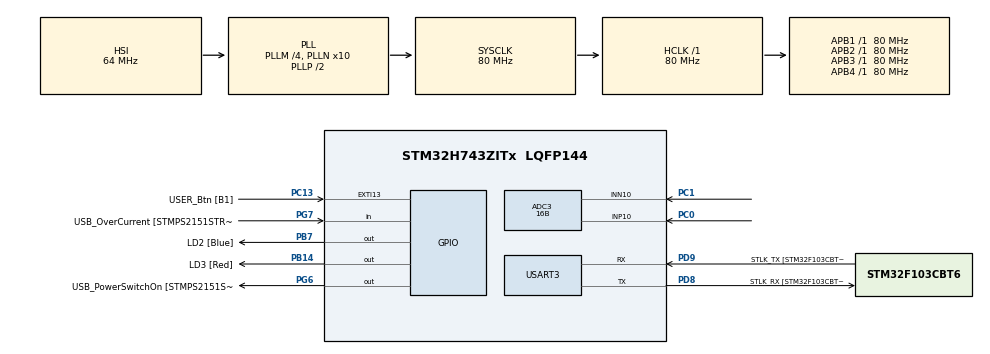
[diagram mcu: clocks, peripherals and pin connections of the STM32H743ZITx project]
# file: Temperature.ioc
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ADC3.BoostMode=DISABLE
ADC3.Channel-0\#ChannelRegularConversion=ADC_CHANNEL_TEMPSENSOR
ADC3.ClockPrescaler=ADC_CLOCK_ASYNC_DIV4
ADC3.ContinuousConvMode=ENABLE
ADC3.ConversionDataManagement=ADC_CONVERSIONDATA_DR
ADC3.DMAContinuousRequests=DISABLE
ADC3.DiscontinuousConvMode=DISABLE
ADC3.EOCSelection=ADC_EOC_SINGLE_CONV
ADC3.EnableAnalogWatchDog1=false
ADC3.EnableAnalogWatchDog2=false
ADC3.EnableAnalogWatchDog3=false
ADC3.EnableInjectedConversion=DISABLE
ADC3.EnableRegularConversion=ENABLE
ADC3.ExternalTrigConv=ADC_SOFTWARE_START
ADC3.ExternalTrigConvEdge=ADC_EXTERNALTRIGCONVEDGE_NONE
ADC3.LeftBitShift=ADC_LEFTBITSHIFT_NONE
ADC3.LowPowerAutoWait=DISABLE
ADC3.NbrOfConversion=1
ADC3.NbrOfConversionFlag=1
ADC3.OffsetNumber-0\#ChannelRegularConversion=ADC_OFFSET_NONE
ADC3.Overrun=ADC_OVR_DATA_PRESERVED
ADC3.OversamplingMode=DISABLE
ADC3.Rank-0\#ChannelRegularConversion=1
ADC3.Resolution=ADC_RESOLUTION_16B
ADC3.SamplingTime-0\#ChannelRegularConversion=ADC_SAMPLETIME_64CYCLES_5
ADC3.ScanConvMode=ADC_SCAN_DISABLE
Mcu.Family=STM32H7
Mcu.Name=STM32H743ZITx
Mcu.Package=LQFP144
NVIC.ADC3_IRQn=true\:0\:0\:false\:false\:true\:true
NVIC.PriorityGroup=NVIC_PRIORITYGROUP_4
PA1.GPIO_Label=RMII_REF_CLK
PA1.Signal=ETH_REF_CLK
PA10.GPIO_Label=USB_ID
PA10.Signal=USB_OTG_FS_ID
PA11.GPIO_Label=USB_DM
PA11.Signal=USB_OTG_FS_DM
PA12.GPIO_Label=USB_DP
PA12.Signal=USB_OTG_FS_DP
PA13.GPIO_Label=TMS
PA13.Signal=SYS_JTMS-SWDIO
PA14.GPIO_Label=TCK
PA14.Signal=SYS_JTCK-SWCLK
PA2.GPIO_Label=RMII_MDIO
PA2.Signal=ETH_MDIO
PA7.GPIO_Label=RMII_CRS_DV
PA7.Signal=ETH_CRS_DV
PA8.GPIO_Label=USB_SOF [TP1]
PA8.Signal=USB_OTG_FS_SOF
PA9.GPIO_Label=USB_VBUS
PA9.Signal=USB_OTG_FS_VBUS
PB13.GPIO_Label=RMII_TXD1
PB13.Signal=ETH_TXD1
PB14.GPIO_Label=LD3 [Red]
PB14.Signal=GPIO_Output
PB3.GPIO_Label=SWO
PB3.Signal=SYS_JTDO-SWO
PB7.GPIO_Label=LD2 [Blue]
PB7.Signal=GPIO_Output
PC0.Signal=ADCx_INP10
PC1.Signal=ADCx_INN10
PC13.GPIO_Label=USER_Btn [B1]
PC13.Signal=GPXTI13
PC14-OSC32_IN.Signal=RCC_OSC32_IN
PC15-OSC32_OUT.Signal=RCC_OSC32_OUT
PC4.GPIO_Label=RMII_RXD0
PC4.Signal=ETH_RXD0
PC5.GPIO_Label=RMII_RXD1
PC5.Signal=ETH_RXD1
PD8.GPIO_Label=STLK_RX [STM32F103CBT6_PA3]
PD8.Mode=Asynchronous
PD8.Signal=USART3_TX
PD9.GPIO_Label=STLK_TX [STM32F103CBT6_PA2]
PD9.Mode=Asynchronous
PD9.Signal=USART3_RX
PG11.GPIO_Label=RMII_TX_EN
PG11.Signal=ETH_TX_EN
PG13.GPIO_Label=RMII_TXD0
PG13.Signal=ETH_TXD0
PG6.GPIO_Label=USB_PowerSwitchOn [STMPS2151STR_EN]
PG6.Signal=GPIO_Output
PG7.GPIO_Label=USB_OverCurrent [STMPS2151STR_FAULT]
PG7.Signal=GPIO_Input
PH0-OSC_IN.GPIO_Label=MCO
PH0-OSC_IN.Signal=RCC_OSC_IN
ProjectManager.HeapSize=0x200
ProjectManager.StackSize=0x400
ProjectManager.TargetToolchain=SW4STM32
RCC.48MHZClocksFreq_Value=24000000
RCC.ADCFreq_Value=18000000
RCC.AHBFreq_Value=216000000
RCC.APB1CLKDivider=RCC_HCLK_DIV4
RCC.APB1Freq_Value=80000000
RCC.APB1TimFreq_Value=108000000
RCC.APB2CLKDivider=RCC_HCLK_DIV2
RCC.APB2Freq_Value=80000000
RCC.APB2TimFreq_Value=216000000
RCC.APB3Freq_Value=80000000
RCC.APB4Freq_Value=80000000
RCC.CortexFreq_Value=80000000
RCC.DIVM1=4
RCC.DIVM2=4
RCC.DIVN1=10
RCC.DIVN2=18
RCC.DIVP2=16
RCC.DIVQ1=4
RCC.HCLKFreq_Value=80000000
RCC.HSE_VALUE=8000000
RCC.HSI_VALUE=64000000
RCC.PLLM=25
RCC.PLLMUL=RCC_PLL_MUL9
RCC.PLLN=432
RCC.PLLQ=9
RCC.PRESCALERUSB=RCC_USBCLKSOURCE_PLL_DIV1_5
RCC.SYSCLKFreq_VALUE=80000000
RCC.SYSCLKSource=RCC_SYSCLKSOURCE_PLLCLK
RCC.SYSCLKSourceVirtual=RCC_SYSCLKSOURCE_PLLCLK
RCC.USBFreq_Value=40000000
RCC.VCOOutputFreq_Value=432000000
SH.ADCx_INN10.0=ADC3_INN10,IN10-Differential
SH.ADCx_INP10.0=ADC3_INP10,IN10-Differential
USART3.VirtualMode-Asynchronous=VM_ASYNC
VP_ADC3_TempSens_Input.Mode=IN-TempSens
board=NUCLEO-H743ZI

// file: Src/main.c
/**
  ******************************************************************************
  * @file           : main.c
  * @brief          : Main program body
  ******************************************************************************
  ** This notice applies to any and all portions of this file
  * that are not between comment pairs USER CODE BEGIN and
  * USER CODE END. Other portions of this file, whether
  * inserted by the user or by software development tools
  * are owned by their respective copyright owners.
  *
  * COPYRIGHT(c) 2018 STMicroelectronics
  *
  * Redistribution and use in source and binary forms, with or without modification,
  * are permitted provided that the following conditions are met:
  *   1. Redistributions of source code must retain the above copyright notice,
  *      this list of conditions and the following disclaimer.
  *   2. Redistributions in binary form must reproduce the above copyright notice,
  *      this list of conditions and the following disclaimer in the documentation
  *      and/or other materials provided with the distribution.
  *   3. Neither the name of STMicroelectronics nor the names of its contributors
  *      may be used to endorse or promote products derived from this software
  *      without specific prior written permission.
  *
  * THIS SOFTWARE IS PROVIDED BY THE COPYRIGHT HOLDERS AND CONTRIBUTORS "AS IS"
  * AND ANY EXPRESS OR IMPLIED WARRANTIES, INCLUDING, BUT NOT LIMITED TO, THE
  * IMPLIED WARRANTIES OF MERCHANTABILITY AND FITNESS FOR A PARTICULAR PURPOSE ARE
  * DISCLAIMED. IN NO EVENT SHALL THE COPYRIGHT HOLDER OR CONTRIBUTORS BE LIABLE
  * FOR ANY DIRECT, INDIRECT, INCIDENTAL, SPECIAL, EXEMPLARY, OR CONSEQUENTIAL
  * DAMAGES (INCLUDING, BUT NOT LIMITED TO, PROCUREMENT OF SUBSTITUTE GOODS OR
  * SERVICES; LOSS OF USE, DATA, OR PROFITS; OR BUSINESS INTERRUPTION) HOWEVER
  * CAUSED AND ON ANY THEORY OF LIABILITY, WHETHER IN CONTRACT, STRICT LIABILITY,
  * OR TORT (INCLUDING NEGLIGENCE OR OTHERWISE) ARISING IN ANY WAY OUT OF THE USE
  * OF THIS SOFTWARE, EVEN IF ADVISED OF THE POSSIBILITY OF SUCH DAMAGE.
  *
  ******************************************************************************
  */
#include "main.h"
#include "stm32h7xx_hal.h"

/* USER CODE BEGIN Includes */
#include <string.h>
/* USER CODE END Includes */

ADC_HandleTypeDef hadc3;

UART_HandleTypeDef huart3;

/* USER CODE BEGIN PV */
/* Private variables ---------------------------------------------------------*/

/* USER CODE END PV */

void SystemClock_Config(void);
static void MX_GPIO_Init(void);
static void MX_ADC3_Init(void);
static void MX_USART3_UART_Init(void);

/* USER CODE BEGIN PFP */
/* Private function prototypes -----------------------------------------------*/

/* USER CODE END PFP */

/* USER CODE BEGIN 0 */
#define TS_CAL1_30  (uint16_t*)((uint32_t) 0x1FF1E820)
#define TS_CAL2_110 (uint16_t*)((uint32_t) 0x1FF1E840)
#define TEMP30  30.0f
#define TEMP110 110.0f
/* USER CODE END 0 */

int main(void)
{

  /* MCU Configuration----------------------------------------------------------*/

  /* Reset of all peripherals, Initializes the Flash interface and the Systick. */
  HAL_Init();

  /* Configure the system clock */
  SystemClock_Config();

  /* Initialize all configured peripherals */
  MX_GPIO_Init();
  MX_ADC3_Init();
  MX_USART3_UART_Init();
  /* USER CODE BEGIN 2 */
  uint8_t buffer[2] = " \n";
  char tempbuf[13];

  int32_t temperature;
  float   sensorValue;

  float CAL110 = (float) *TS_CAL2_110;
  float CAL30 = (float) *TS_CAL1_30;

  // Write out calibration readings for testing
  memset(tempbuf, 0, sizeof(tempbuf));
  sprintf(tempbuf, "%ld\n", (int32_t) *TS_CAL1_30);
  HAL_UART_Transmit(&huart3, (uint8_t *) tempbuf, sizeof(tempbuf), HAL_MAX_DELAY);

  memset(tempbuf, 0, sizeof(tempbuf));
  sprintf(tempbuf, "%ld\n", (int32_t) *TS_CAL2_110);
  HAL_UART_Transmit(&huart3, (uint8_t *) tempbuf, sizeof(tempbuf), HAL_MAX_DELAY);

  /* USER CODE END 2 */

  /* Infinite loop */
  while (1)
  {

  /* USER CODE BEGIN 3 */
    //if (ADC_Enable(&hadc3) != HAL_OK) {
      // handle error
    //}

    // Start conversion
    HAL_ADC_Start(&hadc3);

    // Wait for conversion
    if (HAL_ADC_PollForConversion(&hadc3, 10) == HAL_OK)
    {
      // Get the sensor value and calculate the temperature
      sensorValue = (float)HAL_ADC_GetValue(&hadc3);
      temperature = (int32_t)((TEMP110 - TEMP30) / ((CAL110) - (CAL30)) * (sensorValue - (CAL30))) + TEMP30;

      // Print out sensor value
      memset(tempbuf, 0, sizeof(tempbuf));
      sprintf(tempbuf, "%ld\n", (int32_t) sensorValue);
      HAL_UART_Transmit(&huart3, (uint8_t *) tempbuf, sizeof(tempbuf), HAL_MAX_DELAY);

      // Print out calculated temperature
      memset(tempbuf, 0, sizeof(tempbuf));
      sprintf(tempbuf, "%ld\n", temperature);
      HAL_UART_Transmit(&huart3, (uint8_t *) tempbuf, sizeof(tempbuf), HAL_MAX_DELAY);
    }
    else
    {
      HAL_UART_Transmit(&huart3, buffer, sizeof(buffer), HAL_MAX_DELAY);
    }
    HAL_Delay(1000);

  }
  /* USER CODE END 3 */

}

void SystemClock_Config(void)
{

  RCC_OscInitTypeDef RCC_OscInitStruct;
  RCC_ClkInitTypeDef RCC_ClkInitStruct;
  RCC_PeriphCLKInitTypeDef PeriphClkInitStruct;

    /**Supply configuration update enable
    */
  MODIFY_REG(PWR->CR3, PWR_CR3_SCUEN, 0);

    /**Configure the main internal regulator output voltage
    */
  __HAL_PWR_VOLTAGESCALING_CONFIG(PWR_REGULATOR_VOLTAGE_SCALE3);

  while ((PWR->D3CR & (PWR_D3CR_VOSRDY)) != PWR_D3CR_VOSRDY)
  {

  }
    /**Macro to configure the PLL clock source
    */
  __HAL_RCC_PLL_PLLSOURCE_CONFIG(RCC_PLLSOURCE_HSI);

    /**Initializes the CPU, AHB and APB busses clocks
    */
  RCC_OscInitStruct.OscillatorType = RCC_OSCILLATORTYPE_HSI;
  RCC_OscInitStruct.HSIState = RCC_HSI_DIV1;
  RCC_OscInitStruct.HSICalibrationValue = 16;
  RCC_OscInitStruct.PLL.PLLState = RCC_PLL_ON;
  RCC_OscInitStruct.PLL.PLLSource = RCC_PLLSOURCE_HSI;
  RCC_OscInitStruct.PLL.PLLM = 4;
  RCC_OscInitStruct.PLL.PLLN = 10;
  RCC_OscInitStruct.PLL.PLLP = 2;
  RCC_OscInitStruct.PLL.PLLQ = 4;
  RCC_OscInitStruct.PLL.PLLR = 2;
  RCC_OscInitStruct.PLL.PLLRGE = RCC_PLL1VCIRANGE_3;
  RCC_OscInitStruct.PLL.PLLVCOSEL = RCC_PLL1VCOMEDIUM;
  RCC_OscInitStruct.PLL.PLLFRACN = 0;
  if (HAL_RCC_OscConfig(&RCC_OscInitStruct) != HAL_OK)
  {
    _Error_Handler(__FILE__, __LINE__);
  }

    /**Initializes the CPU, AHB and APB busses clocks
    */
  RCC_ClkInitStruct.ClockType = RCC_CLOCKTYPE_HCLK|RCC_CLOCKTYPE_SYSCLK
                              |RCC_CLOCKTYPE_PCLK1|RCC_CLOCKTYPE_PCLK2
                              |RCC_CLOCKTYPE_D3PCLK1|RCC_CLOCKTYPE_D1PCLK1;
  RCC_ClkInitStruct.SYSCLKSource = RCC_SYSCLKSOURCE_PLLCLK;
  RCC_ClkInitStruct.SYSCLKDivider = RCC_SYSCLK_DIV1;
  RCC_ClkInitStruct.AHBCLKDivider = RCC_HCLK_DIV1;
  RCC_ClkInitStruct.APB3CLKDivider = RCC_APB3_DIV1;
  RCC_ClkInitStruct.APB1CLKDivider = RCC_APB1_DIV1;
  RCC_ClkInitStruct.APB2CLKDivider = RCC_APB2_DIV1;
  RCC_ClkInitStruct.APB4CLKDivider = RCC_APB4_DIV1;

  if (HAL_RCC_ClockConfig(&RCC_ClkInitStruct, FLASH_LATENCY_1) != HAL_OK)
  {
    _Error_Handler(__FILE__, __LINE__);
  }

  PeriphClkInitStruct.PeriphClockSelection = RCC_PERIPHCLK_USART3|RCC_PERIPHCLK_ADC;
  PeriphClkInitStruct.PLL2.PLL2M = 4;
  PeriphClkInitStruct.PLL2.PLL2N = 18;
  PeriphClkInitStruct.PLL2.PLL2P = 16;
  PeriphClkInitStruct.PLL2.PLL2Q = 2;
  PeriphClkInitStruct.PLL2.PLL2R = 2;
  PeriphClkInitStruct.PLL2.PLL2RGE = RCC_PLL2VCIRANGE_3;
  PeriphClkInitStruct.PLL2.PLL2VCOSEL = RCC_PLL2VCOWIDE;
  PeriphClkInitStruct.PLL2.PLL2FRACN = 0;
  PeriphClkInitStruct.Usart234578ClockSelection = RCC_USART234578CLKSOURCE_D2PCLK1;
  PeriphClkInitStruct.AdcClockSelection = RCC_ADCCLKSOURCE_PLL2;
  if (HAL_RCCEx_PeriphCLKConfig(&PeriphClkInitStruct) != HAL_OK)
  {
    _Error_Handler(__FILE__, __LINE__);
  }

    /**Configure the Systick interrupt time
    */
  HAL_SYSTICK_Config(SystemCoreClock/1000);

    /**Configure the Systick
    */
  HAL_SYSTICK_CLKSourceConfig(SYSTICK_CLKSOURCE_HCLK);

  /* SysTick_IRQn interrupt configuration */
  HAL_NVIC_SetPriority(SysTick_IRQn, 0, 0);
}

/* ADC3 init function */
static void MX_ADC3_Init(void)
{

  ADC_ChannelConfTypeDef sConfig;

    /**Common config
    */
  hadc3.Instance = ADC3;
  hadc3.Init.ClockPrescaler = ADC_CLOCK_ASYNC_DIV4;
  hadc3.Init.Resolution = ADC_RESOLUTION_16B;
  hadc3.Init.ScanConvMode = ADC_SCAN_DISABLE;
  hadc3.Init.EOCSelection = ADC_EOC_SINGLE_CONV;
  hadc3.Init.LowPowerAutoWait = DISABLE;
  hadc3.Init.ContinuousConvMode = DISABLE;
  hadc3.Init.NbrOfConversion = 1;
  hadc3.Init.DiscontinuousConvMode = DISABLE;
  hadc3.Init.NbrOfDiscConversion = 1;
  hadc3.Init.ExternalTrigConv = ADC_SOFTWARE_START;
  hadc3.Init.ExternalTrigConvEdge = ADC_EXTERNALTRIGCONVEDGE_NONE;
  hadc3.Init.ConversionDataManagement = ADC_CONVERSIONDATA_DR;
  hadc3.Init.Overrun = ADC_OVR_DATA_PRESERVED;
  hadc3.Init.LeftBitShift = ADC_LEFTBITSHIFT_NONE;
  hadc3.Init.BoostMode = DISABLE;
  hadc3.Init.OversamplingMode = DISABLE;
  if (HAL_ADC_Init(&hadc3) != HAL_OK)
  {
    _Error_Handler(__FILE__, __LINE__);
  }

    /**Configure Regular Channel
    */
  sConfig.Channel = ADC_CHANNEL_TEMPSENSOR;
  sConfig.Rank = ADC_REGULAR_RANK_1;
  sConfig.SamplingTime = ADC_SAMPLETIME_64CYCLES_5;
  sConfig.SingleDiff = ADC_SINGLE_ENDED;
  sConfig.OffsetNumber = ADC_OFFSET_NONE;
  sConfig.Offset = 0;
  if (HAL_ADC_ConfigChannel(&hadc3, &sConfig) != HAL_OK)
  {
    _Error_Handler(__FILE__, __LINE__);
  }
  if (HAL_ADCEx_Calibration_Start(&hadc3, ADC_CALIB_OFFSET, ADC_SINGLE_ENDED) != HAL_OK)
    {
      _Error_Handler(__FILE__, __LINE__);
    }
}

/* USART3 init function */
static void MX_USART3_UART_Init(void)
{

  huart3.Instance = USART3;
  huart3.Init.BaudRate = 115200;
  huart3.Init.WordLength = UART_WORDLENGTH_8B;
  huart3.Init.StopBits = UART_STOPBITS_1;
  huart3.Init.Parity = UART_PARITY_NONE;
  huart3.Init.Mode = UART_MODE_TX_RX;
  huart3.Init.HwFlowCtl = UART_HWCONTROL_NONE;
  huart3.Init.OverSampling = UART_OVERSAMPLING_16;
  huart3.Init.OneBitSampling = UART_ONE_BIT_SAMPLE_DISABLE;
  huart3.Init.Prescaler = UART_PRESCALER_DIV1;
  huart3.Init.FIFOMode = UART_FIFOMODE_DISABLE;
  huart3.Init.TXFIFOThreshold = UART_TXFIFO_THRESHOLD_1_8;
  huart3.Init.RXFIFOThreshold = UART_RXFIFO_THRESHOLD_1_8;
  huart3.AdvancedInit.AdvFeatureInit = UART_ADVFEATURE_NO_INIT;
  if (HAL_UART_Init(&huart3) != HAL_OK)
  {
    _Error_Handler(__FILE__, __LINE__);
  }

}

/** Configure pins as
        * Analog
        * Input
        * Output
        * EVENT_OUT
        * EXTI
     PA1   ------> ETH_REF_CLK
     PA2   ------> ETH_MDIO
     PA7   ------> ETH_CRS_DV
     PC4   ------> ETH_RXD0
     PC5   ------> ETH_RXD1
     PB13   ------> ETH_TXD1
     PA8   ------> USB_OTG_FS_SOF
     PA10   ------> USB_OTG_FS_ID
     PA11   ------> USB_OTG_FS_DM
     PA12   ------> USB_OTG_FS_DP
     PG11   ------> ETH_TX_EN
     PG13   ------> ETH_TXD0
*/
static void MX_GPIO_Init(void)
{

  GPIO_InitTypeDef GPIO_InitStruct;

  /* GPIO Ports Clock Enable */
  __HAL_RCC_GPIOC_CLK_ENABLE();
  __HAL_RCC_GPIOH_CLK_ENABLE();
  __HAL_RCC_GPIOA_CLK_ENABLE();
  __HAL_RCC_GPIOB_CLK_ENABLE();
  __HAL_RCC_GPIOD_CLK_ENABLE();
  __HAL_RCC_GPIOG_CLK_ENABLE();

  /*Configure GPIO pin Output Level */
  HAL_GPIO_WritePin(GPIOB, LD3_Pin|LD2_Pin, GPIO_PIN_RESET);

  /*Configure GPIO pin Output Level */
  HAL_GPIO_WritePin(USB_PowerSwitchOn_GPIO_Port, USB_PowerSwitchOn_Pin, GPIO_PIN_RESET);

  /*Configure GPIO pin : USER_Btn_Pin */
  GPIO_InitStruct.Pin = USER_Btn_Pin;
  GPIO_InitStruct.Mode = GPIO_MODE_IT_RISING;
  GPIO_InitStruct.Pull = GPIO_NOPULL;
  HAL_GPIO_Init(USER_Btn_GPIO_Port, &GPIO_InitStruct);

  /*Configure GPIO pins : RMII_REF_CLK_Pin RMII_MDIO_Pin RMII_CRS_DV_Pin */
  GPIO_InitStruct.Pin = RMII_REF_CLK_Pin|RMII_MDIO_Pin|RMII_CRS_DV_Pin;
  GPIO_InitStruct.Mode = GPIO_MODE_AF_PP;
  GPIO_InitStruct.Pull = GPIO_NOPULL;
  GPIO_InitStruct.Speed = GPIO_SPEED_FREQ_LOW;
  GPIO_InitStruct.Alternate = GPIO_AF11_ETH;
  HAL_GPIO_Init(GPIOA, &GPIO_InitStruct);

  /*Configure GPIO pins : RMII_RXD0_Pin RMII_RXD1_Pin */
  GPIO_InitStruct.Pin = RMII_RXD0_Pin|RMII_RXD1_Pin;
  GPIO_InitStruct.Mode = GPIO_MODE_AF_PP;
  GPIO_InitStruct.Pull = GPIO_NOPULL;
  GPIO_InitStruct.Speed = GPIO_SPEED_FREQ_LOW;
  GPIO_InitStruct.Alternate = GPIO_AF11_ETH;
  HAL_GPIO_Init(GPIOC, &GPIO_InitStruct);

  /*Configure GPIO pin : RMII_TXD1_Pin */
  GPIO_InitStruct.Pin = RMII_TXD1_Pin;
  GPIO_InitStruct.Mode = GPIO_MODE_AF_PP;
  GPIO_InitStruct.Pull = GPIO_NOPULL;
  GPIO_InitStruct.Speed = GPIO_SPEED_FREQ_LOW;
  GPIO_InitStruct.Alternate = GPIO_AF11_ETH;
  HAL_GPIO_Init(RMII_TXD1_GPIO_Port, &GPIO_InitStruct);

  /*Configure GPIO pins : LD3_Pin LD2_Pin */
  GPIO_InitStruct.Pin = LD3_Pin|LD2_Pin;
  GPIO_InitStruct.Mode = GPIO_MODE_OUTPUT_PP;
  GPIO_InitStruct.Pull = GPIO_NOPULL;
  GPIO_InitStruct.Speed = GPIO_SPEED_FREQ_LOW;
  HAL_GPIO_Init(GPIOB, &GPIO_InitStruct);

  /*Configure GPIO pin : USB_PowerSwitchOn_Pin */
  GPIO_InitStruct.Pin = USB_PowerSwitchOn_Pin;
  GPIO_InitStruct.Mode = GPIO_MODE_OUTPUT_PP;
  GPIO_InitStruct.Pull = GPIO_NOPULL;
  GPIO_InitStruct.Speed = GPIO_SPEED_FREQ_LOW;
  HAL_GPIO_Init(USB_PowerSwitchOn_GPIO_Port, &GPIO_InitStruct);

  /*Configure GPIO pin : USB_OverCurrent_Pin */
  GPIO_InitStruct.Pin = USB_OverCurrent_Pin;
  GPIO_InitStruct.Mode = GPIO_MODE_INPUT;
  GPIO_InitStruct.Pull = GPIO_NOPULL;
  HAL_GPIO_Init(USB_OverCurrent_GPIO_Port, &GPIO_InitStruct);

  /*Configure GPIO pins : USB_SOF_Pin USB_ID_Pin USB_DM_Pin USB_DP_Pin */
  GPIO_InitStruct.Pin = USB_SOF_Pin|USB_ID_Pin|USB_DM_Pin|USB_DP_Pin;
  GPIO_InitStruct.Mode = GPIO_MODE_AF_PP;
  GPIO_InitStruct.Pull = GPIO_NOPULL;
  GPIO_InitStruct.Speed = GPIO_SPEED_FREQ_LOW;
  GPIO_InitStruct.Alternate = GPIO_AF10_OTG1_FS;
  HAL_GPIO_Init(GPIOA, &GPIO_InitStruct);

  /*Configure GPIO pins : RMII_TX_EN_Pin RMII_TXD0_Pin */
  GPIO_InitStruct.Pin = RMII_TX_EN_Pin|RMII_TXD0_Pin;
  GPIO_InitStruct.Mode = GPIO_MODE_AF_PP;
  GPIO_InitStruct.Pull = GPIO_NOPULL;
  GPIO_InitStruct.Speed = GPIO_SPEED_FREQ_LOW;
  GPIO_InitStruct.Alternate = GPIO_AF11_ETH;
  HAL_GPIO_Init(GPIOG, &GPIO_InitStruct);

}

void _Error_Handler(char *file, int line)
{
  while(1)
  {
  }
}

/************************ (C) COPYRIGHT STMicroelectronics *****END OF FILE****/
